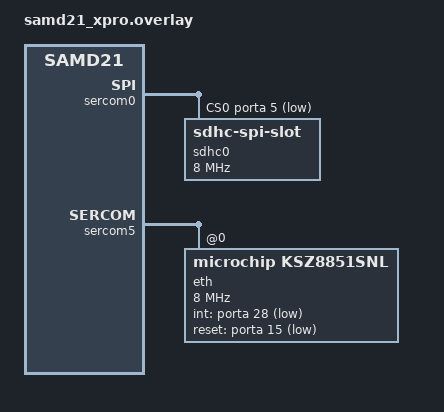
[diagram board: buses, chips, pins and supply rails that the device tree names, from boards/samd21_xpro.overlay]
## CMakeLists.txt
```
cmake_minimum_required(VERSION 3.20.0)

find_package(Zephyr REQUIRED HINTS $ENV{ZEPHYR_BASE})

project(servidor LANGUAGES C)

target_sources(app PRIVATE
	src/main.c
	src/rede.c
	src/armazenamento.c
	src/relogio.c
	src/api_http.c
	src/tabela.c
	src/http_cliente.c
	src/coletor.c
)
```

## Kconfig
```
menu "Servidor (grupo C)"

config SERVIDOR_HTTP_PORTA
	int "Porta HTTP do servidor"
	default 5501
	help
	  Porta em que o supervisor (grupo D) consulta /health, /data e /log.
	  5501 é a porta que o supervisor já usa para o servidor.

endmenu

source "Kconfig.zephyr"
```

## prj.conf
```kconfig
CONFIG_PRINTK=y
CONFIG_LOG=y
CONFIG_LOG_MODE_MINIMAL=y

CONFIG_GPIO=y
CONFIG_SPI=y

# Rede: Ethernet1 (KSZ8851SNL) com IPv4 por DHCP
CONFIG_NETWORKING=y
CONFIG_NET_IPV4=y
CONFIG_NET_IPV6=n
CONFIG_NET_TCP=y
CONFIG_NET_UDP=y
CONFIG_NET_SOCKETS=y

# Hora real pelo NTP.br (servidores por IP, sem DNS)
CONFIG_SNTP=y

# Coletor: GET /sensors no gateway e leitura do JSON
CONFIG_JSON_LIBRARY=y
# Gateway fora do ar não pode segurar o coletor por muito tempo
CONFIG_NET_SOCKETS_CONNECT_TIMEOUT=1500
CONFIG_NET_L2_ETHERNET=y
CONFIG_ETH_DRIVER=y

CONFIG_NET_CONFIG_SETTINGS=y
CONFIG_NET_DHCPV4=y
CONFIG_NET_CONFIG_INIT_TIMEOUT=1

CONFIG_NET_MGMT_EVENT=y
CONFIG_NET_MGMT_EVENT_INFO=y
CONFIG_NET_MGMT_EVENT_STACK_SIZE=768

# SAMD21 tem 32 KB de RAM: pilha de rede enxuta
CONFIG_NET_PKT_RX_COUNT=6
CONFIG_NET_PKT_TX_COUNT=6
CONFIG_NET_BUF_RX_COUNT=12
CONFIG_NET_BUF_TX_COUNT=12
CONFIG_NET_MAX_CONTEXTS=4
CONFIG_NET_MAX_CONN=4
# Timeout de recv no HTTP: um cliente parado não trava o servidor
CONFIG_NET_CONTEXT_RCVTIMEO=y
CONFIG_NET_TCP_WORKQ_STACK_SIZE=768
# Como servidor, a rx_q responde ACK/FIN do TCP descendo até o driver SPI;
# com 1024 B ela estourava ao fechar a conexão HTTP.
CONFIG_NET_RX_STACK_SIZE=1536
CONFIG_NET_TX_STACK_SIZE=1024
CONFIG_SYSTEM_WORKQUEUE_STACK_SIZE=1280

# SAMD21 não tem TRNG; o TCP precisa de números aleatórios (portas, ISN)
CONFIG_TEST_RANDOM_GENERATOR=y

# SD por SPI (IO1) com FAT
CONFIG_SDHC=y
CONFIG_DISK_DRIVERS=y
CONFIG_DISK_ACCESS=y

CONFIG_FILE_SYSTEM=y
CONFIG_FAT_FILESYSTEM_ELM=y
# Nunca formatar o cartão se a montagem falhar (apagaria os dados)
CONFIG_FS_FATFS_MOUNT_MKFS=n
# Cada arquivo aberto reserva ~550 B de RAM: um para gravar e um para o /log
CONFIG_FS_FATFS_NUM_FILES=2
CONFIG_FS_FATFS_NUM_DIRS=1

# POST /reset reinicia a placa
CONFIG_REBOOT=y

CONFIG_MAIN_STACK_SIZE=2048
# O padrão é 2 KB; 1 KB basta para as interrupções (valor usado pelo supervisor)
# e compensa a RAM do NET_RX_STACK_SIZE maior.
CONFIG_ISR_STACK_SIZE=1024
# Sem MPU no SAMD21, estouro de pilha corrompe memória em silêncio; o
# sentinela transforma isso em pânico, e o nome diz qual thread estourou.
CONFIG_STACK_SENTINEL=y
CONFIG_THREAD_NAME=y

# Endereço do gateway. Sem nada descomentado vale o padrão do Kconfig:

# Gateway real (grupo B): IP da serial do gateway, porta 80
#CONFIG_SERVIDOR_GATEWAY_ADDR="192.168.100.30"
#CONFIG_SERVIDOR_GATEWAY_PORTA=80
```

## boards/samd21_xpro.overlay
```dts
/*
 * SAM D21 Xplained Pro com:
 *   - IO1 Xplained Pro (microSD) no EXT1, SPI no SERCOM0
 *   - Ethernet1 Xplained Pro (KSZ8851SNL) no EXT3, SPI no SERCOM5
 *
 * EXT1 (IO1):
 *   PA05 -> SD CS
 *   PA06 -> MOSI  (SERCOM0 PAD2)
 *   PA04 -> MISO  (SERCOM0 PAD0)
 *   PA07 -> SCK   (SERCOM0 PAD3)
 *
 * EXT3 (Ethernet1):
 *   PB17 -> CS
 *   PB22 -> MOSI
 *   PB16 -> MISO
 *   PB23 -> SCK
 *   PA28 -> INTRN
 *   PA15 -> nRST
 */

&pinctrl {
	sercom0_spi_ext1: sercom0_spi_ext1 {
		group1 {
			pinmux = <PA4D_SERCOM0_PAD0>,
				 <PA6D_SERCOM0_PAD2>,
				 <PA7D_SERCOM0_PAD3>;
		};
	};

	sercom5_spi_ext3: sercom5_spi_ext3 {
		group1 {
			pinmux = <PB16C_SERCOM5_PAD0>,
				 <PB22D_SERCOM5_PAD2>,
				 <PB23D_SERCOM5_PAD3>;
		};
	};
};

/* PB30 e PA15 são compartilhados com dispositivos da placa. */
/delete-node/ &pwm_led0;
/delete-node/ &led0;
/delete-node/ &user_button;

/ {
	aliases {
		/delete-property/ led0;
		/delete-property/ pwm-led0;
		/delete-property/ sw0;
	};
};

&tcc0 {
	status = "disabled";
};

/* Na placa o SERCOM0 vem declarado como UART; aqui vira o SPI do EXT1 */
&sercom0 {
	compatible = "atmel,sam0-spi";
	/delete-property/ current-speed;
	/delete-property/ rxpo;
	/delete-property/ txpo;
	status = "okay";
	#address-cells = <1>;
	#size-cells = <0>;
	dipo = <0>;
	dopo = <1>;
	pinctrl-0 = <&sercom0_spi_ext1>;
	cs-gpios = <&porta 5 GPIO_ACTIVE_LOW>;

	sdhc0: sdhc@0 {
		compatible = "zephyr,sdhc-spi-slot";
		reg = <0>;
		status = "okay";
		spi-max-frequency = <8000000>;

		mmc {
			compatible = "zephyr,sdmmc-disk";
			disk-name = "SD";
			status = "okay";
		};
	};
};

&sercom5 {
	status = "okay";
	dipo = <0>;
	dopo = <1>;
	pinctrl-0 = <&sercom5_spi_ext3>;
	cs-gpios = <&portb 17 GPIO_ACTIVE_LOW>,
		   <&porta 13 GPIO_ACTIVE_LOW>;

	eth: ksz8851snl@0 {
		compatible = "microchip,ksz8851snl";
		reg = <0>;
		spi-max-frequency = <8000000>;
		int-gpios = <&porta 28 GPIO_ACTIVE_LOW>;
		reset-gpios = <&porta 15 GPIO_ACTIVE_LOW>;
		local-mac-address = [02 00 00 00 00 0c];
	};
};
```

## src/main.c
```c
#include <zephyr/kernel.h>
#include <zephyr/sys/printk.h>

#include "api_http.h"
#include "armazenamento.h"
#include "coletor.h"
#include "rede.h"
#include "relogio.h"

/* O relógio da placa deriva com o tempo: refaz o NTP de hora em hora */
#define RESYNC_NTP_MS (60 * 60 * 1000)
/* Sem internet no boot, tenta o NTP de novo a cada minuto */
#define RETRY_NTP_MS (60 * 1000)

static void manter_relogio(void)
{
	static int64_t proxima_ms;
	int64_t agora = k_uptime_get();

	if (agora < proxima_ms) {
		return;
	}

	if (relogio_sincronizar() == 0) {
		proxima_ms = agora + RESYNC_NTP_MS;
	} else {
		printk("Relogio: sem NTP, data_hora fica vazia por enquanto\r\n");
		proxima_ms = agora + RETRY_NTP_MS;
	}
}

int main(void)
{
	printk("\r\nServidor (grupo C)\r\n");

	rede_iniciar();

	/* Sem SD o servidor continua no ar: o supervisor ainda precisa do /health */
	if (armazenamento_iniciar() < 0) {
		printk("SD: indisponivel, leituras nao serao gravadas\r\n");
	}

	/* Escuta em qualquer IP: começa antes do DHCP e atende quando ele chegar */
	api_http_iniciar();

	printk("Rede: aguardando DHCP...\r\n");
	while (rede_aguardar_ip(K_SECONDS(10)) < 0) {
		printk("Rede: ainda sem IP, confira o cabo\r\n");
	}

	printk("Coletor: gateway em %s:%d, a cada %d ms\r\n",
	       CONFIG_SERVIDOR_GATEWAY_ADDR, CONFIG_SERVIDOR_GATEWAY_PORTA,
	       CONFIG_SERVIDOR_COLETA_MS);

	/* O coletor roda aqui no main, sem thread própria: economiza RAM */
	for (;;) {
		manter_relogio();
		coletor_consultar();
		k_sleep(K_MSEC(CONFIG_SERVIDOR_COLETA_MS));
	}

	return 0;
}
```

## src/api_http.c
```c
/*
 * Servidor HTTP mínimo sobre sockets: uma conexão por vez, uma requisição por
 * conexão (Connection: close). O servidor HTTP do Zephyr não cabe folgado nos
 * 32 KB de RAM do SAMD21 junto com a rede e o SD.
 */

#include "api_http.h"
#include "armazenamento.h"
#include "tabela.h"

#include <zephyr/kernel.h>
#include <zephyr/net/socket.h>
#include <zephyr/sys/printk.h>
#include <zephyr/sys/reboot.h>
#include <errno.h>
#include <stdio.h>
#include <string.h>

/*
 * O zsock_send() transmite nesta própria thread, descendo pelo TCP até o
 * driver SPI da Ethernet; com 1536 B a pilha estourava na primeira resposta.
 */
#define TAM_PILHA 2048
#define PRIORIDADE 7
#define TIMEOUT_RECV_S 2

K_THREAD_STACK_DEFINE(pilha_http, TAM_PILHA);
static struct k_thread thread_http;

/* Só a primeira linha importa ("GET /health HTTP/1.1"); o resto é descartado */
static char req[128];
static char cabecalho[160];
/* Corpo de qualquer resposta; o maior é o /data com 4 nós (~450 B) */
static char corpo[512];

/* Lê a requisição até a linha em branco que fecha os cabeçalhos */
static size_t ler_requisicao(int sock)
{
	char bloco[64];
	size_t usado = 0;
	uint32_t ultimos = 0;

	for (;;) {
		ssize_t n = zsock_recv(sock, bloco, sizeof(bloco), 0);

		if (n <= 0) {
			break;
		}
		for (ssize_t i = 0; i < n; i++) {
			if (usado < sizeof(req) - 1) {
				req[usado++] = bloco[i];
			}
			ultimos = (ultimos << 8) | (uint8_t)bloco[i];
		}
		/*
		 * Ler até o fim evita fechar com dados pendentes, o que faria o
		 * TCP mandar RST e o cliente perder a resposta.
		 */
		if (ultimos == 0x0d0a0d0a) { /* "\r\n\r\n" */
			break;
		}
	}

	req[usado] = '\0';
	return usado;
}

static void enviar(int sock, const char *buf, size_t tam)
{
	while (tam > 0) {
		ssize_t n = zsock_send(sock, buf, tam, 0);

		if (n <= 0) {
			return;
		}
		buf += n;
		tam -= n;
	}
}

static void responder(int sock, int codigo, const char *motivo, const char *texto)
{
	size_t tam_corpo = strlen(texto);
	int n = snprintf(cabecalho, sizeof(cabecalho),
			 "HTTP/1.1 %d %s\r\n"
			 "Content-Type: application/json\r\n"
			 "Content-Length: %u\r\n"
			 "Connection: close\r\n\r\n",
			 codigo, motivo, (uint32_t)tam_corpo);

	enviar(sock, cabecalho, n);
	enviar(sock, texto, tam_corpo);
}

/* A requisição é "<metodo> <caminho>[?query] HTTP/1.1"? */
static bool rota(const char *metodo, const char *caminho)
{
	size_t lm = strlen(metodo);
	size_t lc = strlen(caminho);
	char fim;

	if (strncmp(req, metodo, lm) != 0 || req[lm] != ' ' ||
	    strncmp(req + lm + 1, caminho, lc) != 0) {
		return false;
	}
	fim = req[lm + 1 + lc];
	return fim == ' ' || fim == '?';
}

static int get_health(int sock)
{
	/* "degraded": no ar, mas sem SD as leituras não estão sendo gravadas */
	snprintf(corpo, sizeof(corpo),
		 "{\"status\":\"%s\",\"uptime_ms\":%u,\"nodes_online\":%d}",
		 armazenamento_ok() ? "ok" : "degraded",
		 (uint32_t)k_uptime_get(), tabela_nos_online());
	responder(sock, 200, "OK", corpo);
	return 200;
}

static int get_data(int sock)
{
	if (tabela_json(corpo, sizeof(corpo)) < 0) {
		responder(sock, 500, "Internal Server Error",
			  "{\"erro\":\"resposta maior que o buffer\"}");
		return 500;
	}
	responder(sock, 200, "OK", corpo);
	return 200;
}

/* Retorna true se a requisição pediu para reiniciar a placa */
static bool atender(int sock)
{
	bool reiniciar = false;
	int codigo;

	if (ler_requisicao(sock) == 0) {
		return false;
	}

	if (rota("GET", "/health")) {
		codigo = get_health(sock);
	} else if (rota("GET", "/data")) {
		codigo = get_data(sock);
	} else if (rota("POST", "/reset")) {
		/* Responde antes: o supervisor precisa saber que o pedido chegou */
		codigo = 200;
		responder(sock, 200, "OK", "{\"status\":\"reiniciando\"}");
		reiniciar = true;
	} else {
		codigo = 404;
		responder(sock, 404, "Not Found", "{\"erro\":\"rota desconhecida\"}");
	}

	/* Mostra só a primeira linha da requisição */
	printk("HTTP: %.*s -> %d\r\n", (int)strcspn(req, "\r\n"), req, codigo);
	return reiniciar;
}

static void reiniciar_placa(void)
{
	printk("HTTP: reset pedido, reiniciando\r\n");

	/* Não deixa o reboot cortar uma linha do CSV no meio */
	armazenamento_finalizar();

	/* Tempo para o TCP entregar a resposta e o FIN ao supervisor */
	k_sleep(K_MSEC(200));
	sys_reboot(SYS_REBOOT_COLD);
}

static void servidor_http(void *p1, void *p2, void *p3)
{
	struct net_sockaddr_in addr = {
		.sin_family = NET_AF_INET,
		.sin_port = net_htons(CONFIG_SERVIDOR_HTTP_PORTA),
		/* sin_addr zerado = qualquer IP da placa */
	};
	struct zsock_timeval tv = { .tv_sec = TIMEOUT_RECV_S };
	int escuta;

	ARG_UNUSED(p1);
	ARG_UNUSED(p2);
	ARG_UNUSED(p3);

	escuta = zsock_socket(NET_AF_INET, NET_SOCK_STREAM, NET_IPPROTO_TCP);
	if (escuta < 0) {
		printk("HTTP: falha ao criar o socket (%d)\r\n", -errno);
		return;
	}

	if (zsock_bind(escuta, (struct net_sockaddr *)&addr, sizeof(addr)) < 0 ||
	    zsock_listen(escuta, 2) < 0) {
		printk("HTTP: falha ao abrir a porta %d (%d)\r\n",
		       CONFIG_SERVIDOR_HTTP_PORTA, -errno);
		zsock_close(escuta);
		return;
	}

	printk("HTTP: escutando na porta %d\r\n", CONFIG_SERVIDOR_HTTP_PORTA);

	for (;;) {
		int cliente = zsock_accept(escuta, NULL, NULL);
		bool reiniciar;

		if (cliente < 0) {
			k_sleep(K_MSEC(100));
			continue;
		}

		/* Cliente que conecta e não manda nada não trava o servidor */
		zsock_setsockopt(cliente, ZSOCK_SOL_SOCKET, ZSOCK_SO_RCVTIMEO,
				 &tv, sizeof(tv));
		reiniciar = atender(cliente);
		zsock_close(cliente);

		if (reiniciar) {
			reiniciar_placa();
		}
	}
}

void api_http_iniciar(void)
{
	k_thread_create(&thread_http, pilha_http, K_THREAD_STACK_SIZEOF(pilha_http),
			servidor_http, NULL, NULL, NULL, PRIORIDADE, 0, K_NO_WAIT);
	k_thread_name_set(&thread_http, "http");
}
```

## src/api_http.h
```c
#ifndef API_HTTP_H
#define API_HTTP_H

/* Cria a thread que atende o supervisor na porta CONFIG_SERVIDOR_HTTP_PORTA */
void api_http_iniciar(void);

#endif
```

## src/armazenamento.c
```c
#include "armazenamento.h"

#include "relogio.h"

#include <zephyr/kernel.h>
#include <zephyr/fs/fs.h>
#include <zephyr/sys/printk.h>
#include <ff.h>
#include <errno.h>
#include <stdio.h>

#define PONTO_MONTAGEM "/SD:"
#define ARQUIVO PONTO_MONTAGEM "/LEITURAS.CSV"
/* data_hora fica vazia se o NTP ainda não respondeu; recebido_ms é o uptime */
#define CABECALHO "data_hora,recebido_ms,node_id,light,temp_c,accel_x,accel_y,accel_z,last_seen_ms\n"

static FATFS fat_fs;
static struct fs_mount_t montagem = {
	.type = FS_FATFS,
	.fs_data = &fat_fs,
	.mnt_point = PONTO_MONTAGEM,
	.flags = FS_MOUNT_FLAG_NO_FORMAT,
};

/* O coletor grava e o HTTP vai ler o histórico: um de cada vez no cartão */
static K_MUTEX_DEFINE(trava_sd);
static bool montado;

static int escrever(const char *texto, size_t tam)
{
	struct fs_file_t arq;
	ssize_t escrito;
	int ret;

	/* Abre e fecha a cada linha: se a placa reiniciar, nada fica pendente */
	fs_file_t_init(&arq);
	ret = fs_open(&arq, ARQUIVO, FS_O_CREATE | FS_O_WRITE | FS_O_APPEND);
	if (ret < 0) {
		return ret;
	}

	escrito = fs_write(&arq, texto, tam);
	ret = fs_close(&arq);

	if (escrito != (ssize_t)tam) {
		return escrito < 0 ? (int)escrito : -EIO;
	}
	return ret;
}

int armazenamento_iniciar(void)
{
	struct fs_dirent info;
	int ret;

	ret = fs_mount(&montagem);
	if (ret < 0) {
		printk("SD: falha ao montar (%d)\r\n", ret);
		return ret;
	}
	montado = true;

	ret = fs_stat(ARQUIVO, &info);
	if (ret == 0 && info.size > 0) {
		printk("SD: %s com %u bytes, acrescentando\r\n", ARQUIVO,
		       (uint32_t)info.size);
		return 0;
	}

	ret = escrever(CABECALHO, sizeof(CABECALHO) - 1);
	if (ret < 0) {
		printk("SD: falha ao criar %s (%d)\r\n", ARQUIVO, ret);
		return ret;
	}

	printk("SD: %s criado\r\n", ARQUIVO);
	return 0;
}

bool armazenamento_ok(void)
{
	return montado;
}

void armazenamento_finalizar(void)
{
	/* Espera qualquer gravação em andamento e não solta mais a trava */
	k_mutex_lock(&trava_sd, K_FOREVER);
	if (montado) {
		fs_unmount(&montagem);
		montado = false;
	}
}

int armazenamento_gravar(const struct leitura *l)
{
	char linha[128];
	char data_hora[20];
	int n;
	int ret;

	if (!montado) {
		return -ENODEV;
	}

	relogio_agora(data_hora, sizeof(data_hora));
	n = snprintf(linha, sizeof(linha), "%s,%u,%u,%u," TEMP_FMT ",%d,%d,%d,%u\n",
		     data_hora, (uint32_t)k_uptime_get(), l->node_id, l->light,
		     TEMP_ARGS(l->temp_c_x100), l->accel[0], l->accel[1],
		     l->accel[2], l->last_seen_ms);

	k_mutex_lock(&trava_sd, K_FOREVER);
	ret = escrever(linha, n);
	k_mutex_unlock(&trava_sd);

	return ret;
}
```

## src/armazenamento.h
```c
#ifndef ARMAZENAMENTO_H
#define ARMAZENAMENTO_H

#include <stdbool.h>

#include "leitura.h"

/* Monta o SD e cria o LEITURAS.CSV com cabeçalho se ele ainda não existir */
int armazenamento_iniciar(void);

/* O SD está montado e pronto para gravar? */
bool armazenamento_ok(void);

/* Acrescenta uma linha ao CSV, com o instante em que o servidor a recebeu */
int armazenamento_gravar(const struct leitura *l);

/* Desmonta o SD com segurança antes de reiniciar; não grava mais depois */
void armazenamento_finalizar(void);

#endif
```

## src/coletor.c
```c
#include "coletor.h"
#include "armazenamento.h"
#include "http_cliente.h"
#include "relogio.h"
#include "tabela.h"

#include <zephyr/kernel.h>
#include <zephyr/data/json.h>
#include <zephyr/sys/printk.h>
#include <errno.h>
#include <stdbool.h>
#include <string.h>

/* Mesmo limite do gateway (GATEWAY_MEMORY_MAX_NODES) */
#define MAX_NOS 4

/*
 * Formato de um item do GET /sensors (lib/gateway_json/sensors_json.c):
 * {"node_id":1,"light":320,"temp_c":24.53,"accel":[10,-20,980],"last_seen_ms":1234}
 * Campos que não estão aqui são ignorados pelo parser.
 */
struct sensor_json {
	int32_t node_id;
	int32_t light;
	struct json_obj_token temp_c; /* texto "24.53": convertido sem float */
	int32_t accel[3];
	size_t accel_len;
	int32_t last_seen_ms;
};

static const struct json_obj_descr sensor_descr[] = {
	JSON_OBJ_DESCR_PRIM(struct sensor_json, node_id, JSON_TOK_NUMBER),
	JSON_OBJ_DESCR_PRIM(struct sensor_json, light, JSON_TOK_NUMBER),
	JSON_OBJ_DESCR_PRIM(struct sensor_json, temp_c, JSON_TOK_FLOAT),
	JSON_OBJ_DESCR_ARRAY(struct sensor_json, accel, 3, accel_len, JSON_TOK_NUMBER),
	JSON_OBJ_DESCR_PRIM(struct sensor_json, last_seen_ms, JSON_TOK_NUMBER),
};

struct sensores_json {
	struct sensor_json nos[MAX_NOS];
	size_t n;
};

static const struct json_obj_descr sensores_descr[] = {
	JSON_OBJ_DESCR_OBJ_ARRAY(struct sensores_json, nos, MAX_NOS, n, sensor_descr,
				 ARRAY_SIZE(sensor_descr)),
};

/* Resposta do gateway: até ~515 B de corpo (4 nós) mais os cabeçalhos */
static char buf[640];
/* Só o main usa: fica fora da pilha */
static struct sensores_json sensores;

/* "24.53" -> 2453, "-3.5" -> -350, "24" -> 2400 */
static int16_t temp_x100(const struct json_obj_token *t)
{
	const char *p = t->start;
	const char *fim = p + t->length;
	bool negativo = false;
	int32_t inteiro = 0;
	int32_t frac = 0;
	int casas = 0;
	int32_t valor;

	if (p == NULL) {
		return 0;
	}
	if (p < fim && *p == '-') {
		negativo = true;
		p++;
	}
	while (p < fim && *p >= '0' && *p <= '9') {
		inteiro = inteiro * 10 + (*p++ - '0');
	}
	if (p < fim && *p == '.') {
		p++;
		while (p < fim && *p >= '0' && *p <= '9' && casas < 2) {
			frac = frac * 10 + (*p++ - '0');
			casas++;
		}
	}
	for (; casas < 2; casas++) {
		frac *= 10;
	}

	valor = inteiro * 100 + frac;
	return negativo ? -valor : valor;
}

int coletor_consultar(void)
{
	char *corpo = NULL;
	int novas = 0;
	int status;
	int ret;

	status = http_get(CONFIG_SERVIDOR_GATEWAY_ADDR, CONFIG_SERVIDOR_GATEWAY_PORTA,
			  "/sensors", buf, sizeof(buf), &corpo);
	if (status != 200) {
		printk("Coletor: GET /sensors falhou (%d)\r\n", status);
		return status < 0 ? status : -EIO;
	}

	memset(&sensores, 0, sizeof(sensores));
	ret = json_arr_parse(corpo, strlen(corpo), sensores_descr, &sensores);
	if (ret < 0) {
		printk("Coletor: JSON invalido (%d)\r\n", ret);
		return ret;
	}

	for (size_t i = 0; i < sensores.n; i++) {
		const struct sensor_json *s = &sensores.nos[i];
		struct leitura l = {
			.node_id = s->node_id,
			.light = s->light,
			.temp_c_x100 = temp_x100(&s->temp_c),
			.accel = { s->accel[0], s->accel[1], s->accel[2] },
			.last_seen_ms = s->last_seen_ms,
		};

		/* O gateway repete a última leitura até o nó mandar outra */
		if (!tabela_atualizar(&l)) {
			continue;
		}

		novas++;
		ret = armazenamento_gravar(&l);
		if (ret < 0) {
			printk("SD: falha ao gravar o no %u (%d)\r\n", l.node_id, ret);
		} else {
			char data_hora[20];

			relogio_agora(data_hora, sizeof(data_hora));
			printk("SD: leitura nova do no %u gravada %s\r\n", l.node_id,
			       data_hora);
		}
	}

	return novas;
}
```

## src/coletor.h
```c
#ifndef COLETOR_H
#define COLETOR_H

/*
 * Faz GET /sensors no gateway, atualiza a tabela e grava no SD só as
 * leituras novas. Retorna quantas eram novas ou erro negativo.
 */
int coletor_consultar(void);

#endif
```

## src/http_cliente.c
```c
/*
 * Cliente HTTP mínimo: uma requisição por conexão. O gateway responde com
 * Content-Length e Connection: close, então basta ler até ele fechar.
 */

#include "http_cliente.h"

#include <zephyr/kernel.h>
#include <zephyr/net/socket.h>
#include <errno.h>
#include <stdio.h>
#include <stdlib.h>
#include <string.h>

#define TIMEOUT_RECV_S 2

int http_get(const char *ip, uint16_t porta, const char *caminho, char *buf,
	     size_t tam, char **corpo)
{
	struct net_sockaddr_in addr = {
		.sin_family = NET_AF_INET,
		.sin_port = net_htons(porta),
	};
	struct zsock_timeval tv = { .tv_sec = TIMEOUT_RECV_S };
	size_t usado = 0;
	ssize_t n = 0;
	char *sep;
	int sock;
	int len;
	int ret;

	if (net_addr_pton(NET_AF_INET, ip, &addr.sin_addr) < 0) {
		return -EINVAL;
	}

	sock = zsock_socket(NET_AF_INET, NET_SOCK_STREAM, NET_IPPROTO_TCP);
	if (sock < 0) {
		return -errno;
	}
	zsock_setsockopt(sock, ZSOCK_SOL_SOCKET, ZSOCK_SO_RCVTIMEO, &tv, sizeof(tv));

	len = snprintf(buf, tam,
		       "GET %s HTTP/1.1\r\nHost: %s:%u\r\nConnection: close\r\n\r\n",
		       caminho, ip, porta);

	if (zsock_connect(sock, (struct net_sockaddr *)&addr, sizeof(addr)) < 0 ||
	    zsock_send(sock, buf, len, 0) != len) {
		ret = errno != 0 ? -errno : -EIO;
		goto fim;
	}

	while (usado < tam - 1) {
		n = zsock_recv(sock, buf + usado, tam - 1 - usado, 0);
		if (n <= 0) {
			break;
		}
		usado += n;
	}
	buf[usado] = '\0';

	if (n < 0) {
		ret = -errno;
	} else if (usado == tam - 1) {
		ret = -ENOBUFS;
	} else if (strncmp(buf, "HTTP/1.", 7) != 0 ||
		   (sep = strstr(buf, "\r\n\r\n")) == NULL) {
		ret = -EBADMSG;
	} else {
		*corpo = sep + 4;
		ret = atoi(buf + 9); /* "HTTP/1.1 200 OK" */
	}

fim:
	zsock_close(sock);
	return ret;
}
```

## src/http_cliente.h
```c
#ifndef HTTP_CLIENTE_H
#define HTTP_CLIENTE_H

#include <stddef.h>
#include <stdint.h>

/*
 * GET http://ip:porta/caminho. A resposta inteira (cabeçalhos + corpo) fica
 * em buf e *corpo aponta para o corpo dentro dele.
 * Retorna o código HTTP (200...) ou erro negativo (-EAGAIN = timeout).
 */
int http_get(const char *ip, uint16_t porta, const char *caminho, char *buf,
	     size_t tam, char **corpo);

#endif
```

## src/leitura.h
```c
#ifndef LEITURA_H
#define LEITURA_H

#include <stdint.h>
#include <stdlib.h>

/*
 * Uma leitura de um nó sensor, nos mesmos tipos que o gateway usa no
 * GET /sensors (lib/gateway_json/sensors_json.c): tudo inteiro, sem float.
 */
struct leitura {
	uint8_t node_id;
	uint16_t light;
	int16_t temp_c_x100;  /* 2453 = 24.53 °C */
	int16_t accel[3];     /* valores brutos do sensor */
	uint32_t last_seen_ms; /* uptime do gateway na última recepção */
};

/*
 * Formata temp_c_x100 como "24.53" sem printf de float, que custaria flash e
 * pilha. Uso: printf("temp=" TEMP_FMT, TEMP_ARGS(l->temp_c_x100)).
 */
#define TEMP_FMT "%s%u.%02u"
#define TEMP_ARGS(x)                                                           \
	((x) < 0 ? "-" : ""), (unsigned int)(abs(x) / 100),                     \
		(unsigned int)(abs(x) % 100)

#endif
```

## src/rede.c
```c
#include "rede.h"

#include <zephyr/net/net_if.h>
#include <zephyr/net/net_mgmt.h>
#include <zephyr/net/net_event.h>
#include <zephyr/sys/printk.h>

static struct net_mgmt_event_callback net_cb;
static K_SEM_DEFINE(ip_pronto, 0, 1);

static bool mostrar_ipv4(struct net_if *iface)
{
	struct net_in_addr *addr;
	char texto[NET_IPV4_ADDR_LEN];

	addr = net_if_ipv4_get_global_addr(iface, NET_ADDR_PREFERRED);
	if (addr == NULL) {
		return false;
	}

	net_addr_ntop(AF_INET, addr, texto, sizeof(texto));
	printk("Rede: IP %s\r\n", texto);
	return true;
}

static void net_event_handler(struct net_mgmt_event_callback *cb,
			      uint64_t event, struct net_if *iface)
{
	ARG_UNUSED(cb);
	ARG_UNUSED(iface);

	if (event == NET_EVENT_IPV4_ADDR_ADD) {
		k_sem_give(&ip_pronto);
	}
}

void rede_iniciar(void)
{
	net_mgmt_init_event_callback(&net_cb, net_event_handler,
				     NET_EVENT_IPV4_ADDR_ADD);
	net_mgmt_add_event_callback(&net_cb);
}

int rede_aguardar_ip(k_timeout_t timeout)
{
	struct net_if *iface = net_if_get_default();

	/* O DHCP pode ter terminado antes de o callback ser registrado */
	if (mostrar_ipv4(iface)) {
		return 0;
	}

	if (k_sem_take(&ip_pronto, timeout) < 0) {
		return -EAGAIN;
	}

	mostrar_ipv4(iface);
	return 0;
}
```

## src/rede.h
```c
#ifndef REDE_H
#define REDE_H

#include <zephyr/kernel.h>

/* Registra os eventos de rede. O DHCP começa sozinho quando o link sobe. */
void rede_iniciar(void);

/* Espera a placa ter um IPv4. Retorna 0 com IP ou -EAGAIN no timeout. */
int rede_aguardar_ip(k_timeout_t timeout);

#endif
```

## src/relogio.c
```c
#include "relogio.h"

#include <zephyr/kernel.h>
#include <zephyr/net/net_ip.h>
#include <zephyr/net/sntp.h>
#include <zephyr/sys/printk.h>
#include <errno.h>
#include <time.h>

/*
 * Servidores do NTP.br por IP: usar nome exigiria o resolvedor de DNS, que
 * custa ~3 KB de RAM. Tenta um de cada vez até algum responder.
 */
static const char *const servidores_ntp[] = {
	"200.160.7.186",  /* a.st1.ntp.br */
	"201.49.148.135", /* b.st1.ntp.br */
	"200.160.0.8",    /* a.ntp.br */
};

#define TIMEOUT_NTP_MS 3000
/* Brasília é UTC-3 o ano todo (sem horário de verão desde 2019) */
#define FUSO_BRASILIA_S (-3 * 3600)

/* Instante Unix, em ms, em que a placa ligou (uptime 0) */
static int64_t epoca_no_boot_ms;
static bool sincronizado;

int relogio_sincronizar(void)
{
	for (size_t i = 0; i < ARRAY_SIZE(servidores_ntp); i++) {
		struct net_sockaddr_in addr = {
			.sin_family = NET_AF_INET,
			.sin_port = net_htons(123),
		};
		struct sntp_time ts;
		char texto[20];
		int ret;

		net_addr_pton(NET_AF_INET, servidores_ntp[i], &addr.sin_addr);

		ret = sntp_simple_addr((struct net_sockaddr *)&addr, sizeof(addr),
				       TIMEOUT_NTP_MS, &ts);
		if (ret < 0) {
			printk("Relogio: %s nao respondeu (%d)\r\n",
			       servidores_ntp[i], ret);
			continue;
		}

		/* fraction é a parte fracionária do segundo em 1/2^32 */
		epoca_no_boot_ms = (int64_t)ts.seconds * 1000 +
				   (((uint64_t)ts.fraction * 1000) >> 32) -
				   k_uptime_get();
		sincronizado = true;

		relogio_agora(texto, sizeof(texto));
		printk("Relogio: %s (horario de Brasilia)\r\n", texto);
		return 0;
	}

	return -ETIMEDOUT;
}

bool relogio_sincronizado(void)
{
	return sincronizado;
}

bool relogio_agora(char *buf, size_t tam)
{
	time_t agora;
	struct tm tm;

	if (!sincronizado) {
		buf[0] = '\0';
		return false;
	}

	agora = (time_t)((epoca_no_boot_ms + k_uptime_get()) / 1000) +
		FUSO_BRASILIA_S;
	gmtime_r(&agora, &tm);
	strftime(buf, tam, "%Y-%m-%d %H:%M:%S", &tm);
	return true;
}
```
